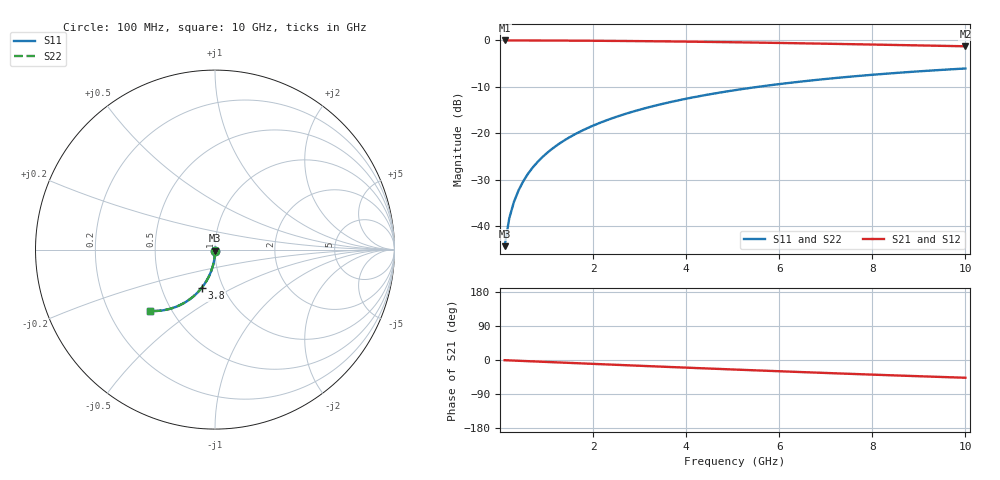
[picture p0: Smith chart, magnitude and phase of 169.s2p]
# Hz S RI R 50.00
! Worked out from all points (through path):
!   100 points, 100 MHz to 10 GHz, reference 50 ohm
!   highest |S21| = 0.00 dB at 100 MHz (marker M1); lowest = -1.3 dB at 10 GHz (marker M2)
!   group delay of S21, straight-line fit = 13.1 ps
!   lowest |S11| = -44.3 dB at 100 MHz (marker M3), VSWR 1.01, Z = 50 - j0.611 ohm
!   |S11| at or under -10 dB: start of sweep to 5.535 GHz
!   |S22| runs from -44.3 to -6.0 dB; largest |S21 - S12| = 0
!   S11 on the Smith chart (normalised r, x): 100 MHz: 1.00, -0.01; 3.8 GHz: 0.79, -0.35; 10 GHz: 0.38, -0.35
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1e8  0.000353 -0.00611  0.9995 -0.00891  0.9995 -0.00891  0.000353 -0.00611
2e8  0.000185 -0.0122  0.9993 -0.0178  0.9993 -0.0178  0.000185 -0.0122
3e8  -9.23e-05 -0.0183  0.999 -0.0267  0.999 -0.0267  -9.23e-05 -0.0183
4e8  -0.000479 -0.0244  0.9986 -0.0356  0.9986 -0.0356  -0.000479 -0.0244
5e8  -0.000974 -0.0305  0.9981 -0.0445  0.9981 -0.0445  -0.000974 -0.0305
6e8  -0.00158 -0.0366  0.9974 -0.0534  0.9974 -0.0534  -0.00158 -0.0366
8e8  -0.00311 -0.0487  0.9958 -0.0711  0.9958 -0.0711  -0.00311 -0.0487
9e8  -0.00404 -0.0547  0.9948 -0.08  0.9948 -0.08  -0.00404 -0.0547
1.1e9  -0.00621 -0.0667  0.9925 -0.0976  0.9925 -0.0976  -0.00621 -0.0667
1.4e9  -0.0103 -0.0845  0.9881 -0.1239  0.9881 -0.1239  -0.0103 -0.0845
1.8e9  -0.0171 -0.1078  0.9807 -0.1584  0.9807 -0.1584  -0.0171 -0.1078
2.1e9  -0.0233 -0.1249  0.9741 -0.184  0.9741 -0.184  -0.0233 -0.1249
2.5e9  -0.0329 -0.147  0.9637 -0.2174  0.9637 -0.2174  -0.0329 -0.147
2.9e9  -0.044 -0.1683  0.9518 -0.25  0.9518 -0.25  -0.044 -0.1683
3.4e9  -0.0597 -0.1935  0.9348 -0.2895  0.9348 -0.2895  -0.0597 -0.1935
3.8e9  -0.0737 -0.2125  0.9196 -0.3198  0.9196 -0.3198  -0.0737 -0.2125
4.4e9  -0.0968 -0.2387  0.8945 -0.3633  0.8945 -0.3633  -0.0968 -0.2387
5.1e9  -0.1264 -0.2658  0.8621 -0.4104  0.8621 -0.4104  -0.1264 -0.2658
5.9e9  -0.163 -0.2917  0.8219 -0.4595  0.8219 -0.4595  -0.163 -0.2917
6.7e9  -0.2016 -0.3121  0.779 -0.5033  0.779 -0.5033  -0.2016 -0.3121
8.4e9  -0.2863 -0.3376  0.6831 -0.5792  0.6831 -0.5792  -0.2863 -0.3376
1e10  -0.3642 -0.3413  0.5918 -0.6313  0.5918 -0.6313  -0.3642 -0.3413
